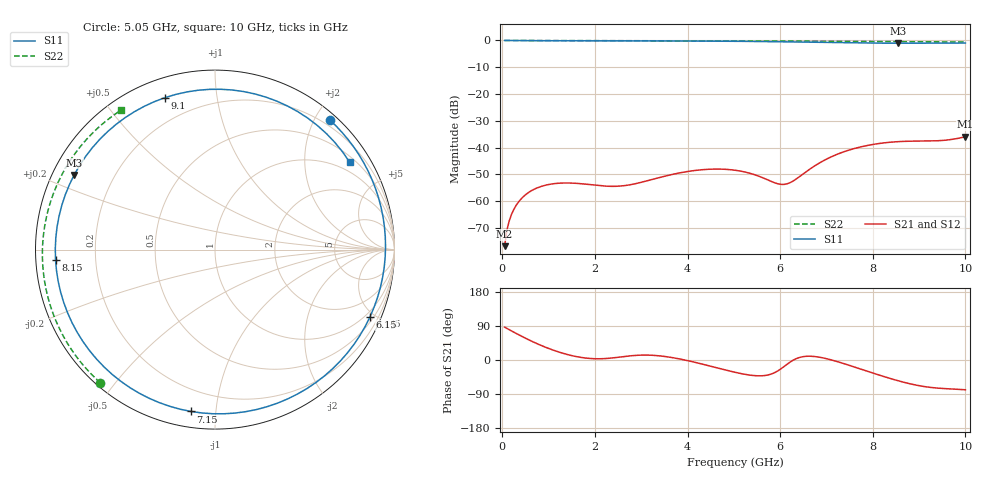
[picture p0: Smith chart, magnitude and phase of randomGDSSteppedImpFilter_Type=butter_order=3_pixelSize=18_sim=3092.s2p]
! freq	dB(S11)	phase(S11)	dB(S12)	phase(S12)
!  dB(S21)	phase(S21)	dB(S22)	phase(S22)
!S-par simulation data
#  GHz  S  DB  R 50
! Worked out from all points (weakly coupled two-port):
!   200 points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, 50 MHz to 10 GHz, reference 50 ohm
!   highest |S21| = -35.96 dB at 10 GHz (marker M1); lowest = -76.8 dB at 50 MHz (marker M2)
!   lowest |S11| = -1.0 dB at 8.55 GHz (marker M3), VSWR 16.88, Z = 3.15 + j12.4 ohm
!   |S11| at or under -10 dB: nowhere
!   |S22| runs from -0.6 to 0.0 dB; largest |S21 - S12| = 0
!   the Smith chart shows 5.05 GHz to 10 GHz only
!   S11 on the Smith chart (normalised r, x): 5.05 GHz: 0.11, +2.21; 6.15 GHz: 0.71, -4.70; 7.15 GHz: 0.08, -0.86; 8.15 GHz: 0.06, -0.03; 9.1 GHz: 0.09, +0.72; 10 GHz: 0.67, +3.25
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0.05  -0.00 -5.3  -76.82 86.6  -76.82 86.6  -0.00 -1.5
0.15  -0.02 -15.8  -67.34 79.9  -67.34 79.9  -0.01 -4.5
0.3  -0.05 -31.2  -61.55 70.1  -61.55 70.1  -0.01 -8.9
0.55  -0.08 -55.7  -56.98 54.5  -56.98 54.5  -0.02 -16.3
0.8  -0.10 -78.1  -54.74 40.4  -54.74 40.4  -0.03 -23.6
1.2  -0.12 -109.4  -53.33 21.8  -53.33 21.8  -0.04 -35.1
1.75  -0.13 -144.6  -53.57 5.9  -53.57 5.9  -0.06 -50.6
2.5  -0.15 176.1  -54.42 7.2  -54.42 7.2  -0.09 -70.7
3.4  -0.18 133.7  -51.16 10.9  -51.16 10.9  -0.12 -93.2
4.25  -0.23 92.4  -48.37 -8.7  -48.37 -8.7  -0.15 -113.1
5.05  -0.31 48.5  -48.52 -33.1  -48.52 -33.1  -0.19 -130.7
5.65  -0.41 10.9  -51.45 -41.2  -51.45 -41.2  -0.22 -143.5
6.15  -0.52 -23.5  -53.53 -11.2  -53.53 -11.2  -0.25 -153.9
6.7  -0.67 -64.0  -47.35 9.7  -47.35 9.7  -0.29 -165.2
7.15  -0.80 -98.4  -43.10 -1.3  -43.10 -1.3  -0.32 -174.4
7.7  -0.94 -141.2  -39.91 -22.3  -39.91 -22.3  -0.37 174.2
8.15  -1.01 -176.4  -38.44 -40.2  -38.44 -40.2  -0.40 164.8
8.35  -1.03 167.8  -38.04 -47.8  -38.04 -47.8  -0.42 160.6
8.55  -1.03 152.0  -37.78 -54.9  -37.78 -54.9  -0.44 156.3
9.1  -1.00 108.2  -37.57 -69.9  -37.57 -69.9  -0.49 144.4
9.55  -0.96 71.6  -37.27 -75.4  -37.27 -75.4  -0.53 134.3
10  -0.97 33.0  -35.96 -78.6  -35.96 -78.6  -0.57 123.9
